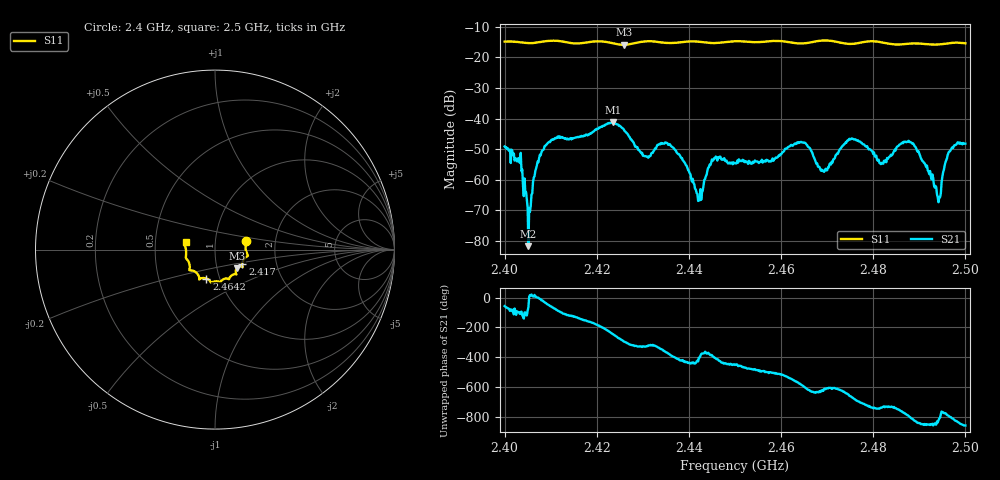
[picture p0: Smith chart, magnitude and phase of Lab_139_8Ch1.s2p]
# Hz S RI R 50
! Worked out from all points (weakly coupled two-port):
!   601 points, 2.4 GHz to 2.5 GHz, reference 50 ohm
!   highest |S21| = -41.25 dB at 2.4235 GHz (marker M1); lowest = -81.6 dB at 2.4052 GHz (marker M2)
!   lowest |S11| = -15.9 dB at 2.4258 GHz (marker M3), VSWR 1.38, Z = 62.3 - j13.2 ohm
!   |S11| at or under -10 dB: start of sweep to end of sweep
!   S12 and S22 are empty: the file has one direction only
!   S11 on the Smith chart (normalised r, x): 2.4 GHz: 1.41, +0.14; 2.417 GHz: 1.34, -0.22; 2.4642 GHz: 0.86, -0.29; 2.5 GHz: 0.72, +0.06
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2.4e9  0.1733 0.0493  0.0019 -0.00295  0 0  0 0
2.403333e9  0.1731 0.0317  -0.000647 -0.00177  0 0  0 0
2.405167e9  0.1703 0.0117  3.54e-05 -7.48e-05  0 0  0 0
2.409167e9  0.1821 -0.0291  0.00278 -0.00261  0 0  0 0
2.416667e9  0.1528 -0.0747  -0.00427 -0.00298  0 0  0 0
2.417e9  0.1524 -0.0785  -0.00443 -0.00254  0 0  0 0
2.4235e9  0.1412 -0.0934  -0.00362 0.00786  0 0  0 0
2.425833e9  0.122 -0.1034  0.00273 0.00613  0 0  0 0
2.4305e9  0.1187 -0.1376  0.00209 0.00125  0 0  0 0
2.433333e9  0.1128 -0.1371  0.00337 0.00159  0 0  0 0
2.442167e9  0.074 -0.1636  0.000365 -0.000342  0 0  0 0
2.4455e9  0.0516 -0.1628  0.00167 -0.00154  0 0  0 0
2.45e9  0.0295 -0.1808  -6.81e-05 -0.00188  0 0  0 0
2.464167e9  -0.0479 -0.1614  -0.00323 0.00257  0 0  0 0
2.466667e9  -0.0758 -0.1596  6.96e-05 0.00287  0 0  0 0
2.469e9  -0.0874 -0.1662  -0.00025 0.00137  0 0  0 0
2.475167e9  -0.1079 -0.1253  0.00253 0.00387  0 0  0 0
2.483333e9  -0.1408 -0.0899  0.00227 -0.000407  0 0  0 0
2.488167e9  -0.1604 -0.0496  0.000253 -0.00409  0 0  0 0
2.494167e9  -0.1619 0.000277  -9.16e-05 -0.000422  0 0  0 0
2.496667e9  -0.1693 0.024  0.000473 -0.0029  0 0  0 0
2.5e9  -0.1637 0.0421  -0.00287 -0.00265  0 0  0 0
